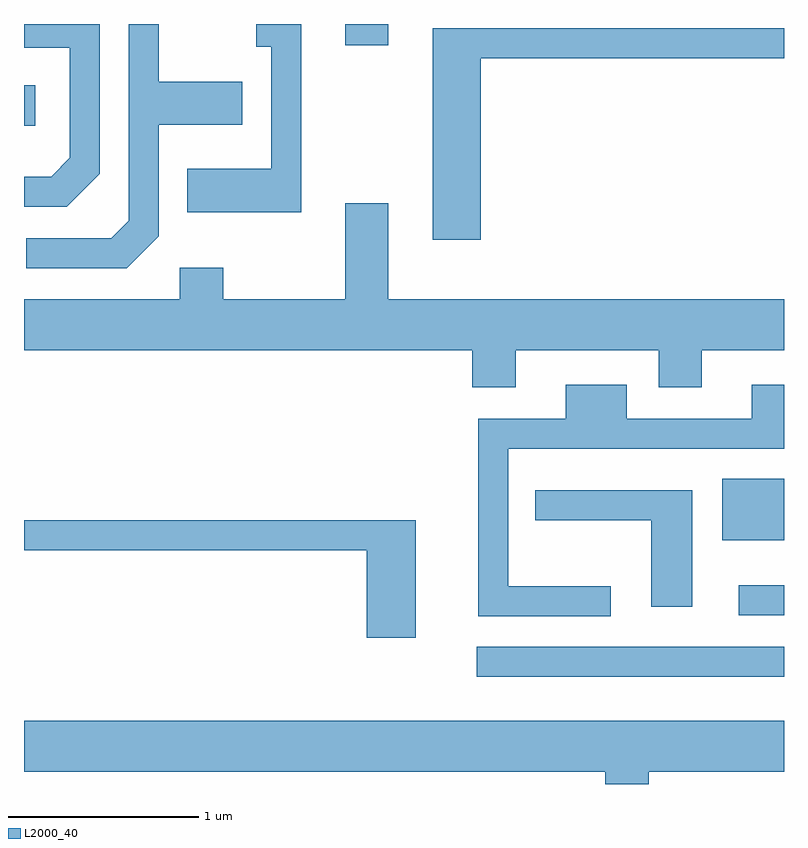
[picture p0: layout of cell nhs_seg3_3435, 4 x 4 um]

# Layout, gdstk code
import gdstk
lib = gdstk.Library(unit=1e-6, precision=1e-09)
def R(c, l, rs):  # rectangles x0, y0, x1, y1
    for r in rs: c.add(gdstk.rectangle(r[:2], r[2:], *l))
def P(c, l, *ps):  # polygons
    for p in ps: c.add(gdstk.Polygon(p, *l))
L2000_40 = (2000, 40)

nhs_seg3_3435 = lib.new_cell('nhs_seg3_3435')
R(nhs_seg3_3435, L2000_40, [(287.993,1186.456,289.611,1186.614), (289.373,1186.781,289.611,1186.939), (289.286,1187.176,289.611,1187.499), (285.611,1189.356,285.669,1189.569), (287.301,1189.781,287.529,1189.892)])
P(nhs_seg3_3435, L2000_40, [(287.069,1189.892),(286.833,1189.892),(286.833,1189.771),(286.911,1189.771),(286.911,1189.129),(286.471,1189.129),(286.471,1188.901),(287.069,1188.901)],
  [(286.319,1188.774),(286.319,1189.361),(286.759,1189.361),(286.759,1189.589),(286.319,1189.589),(286.319,1189.892),(286.161,1189.892),(286.161,1188.857),(286.069,1188.764),(285.623,1188.764),(285.623,1188.606),(286.152,1188.606)],
  [(286.009,1189.104),(286.009,1189.892),(285.611,1189.892),(285.611,1189.766),(285.851,1189.766),(285.851,1189.187),(285.754,1189.089),(285.611,1189.089),(285.611,1188.931),(285.837,1188.931)],
  [(288.014,1189.711),(289.611,1189.711),(289.611,1189.869),(287.761,1189.869),(287.761,1188.756),(288.014,1188.756)],
  [(288.199,1188.176),(288.951,1188.176),(288.951,1187.981),(289.179,1187.981),(289.179,1188.176),(289.611,1188.176),(289.611,1188.444),(287.529,1188.444),(287.529,1188.949),(287.301,1188.949),(287.301,1188.444),(286.659,1188.444),(286.659,1188.609),(286.431,1188.609),(286.431,1188.444),(285.611,1188.444),(285.611,1188.176),(287.971,1188.176),(287.971,1187.981),(288.199,1187.981)],
  [(288.698,1186.934),(288.159,1186.934),(288.159,1187.656),(289.611,1187.656),(289.611,1187.994),(289.441,1187.994),(289.441,1187.814),(288.784,1187.814),(288.784,1187.994),(288.461,1187.994),(288.461,1187.814),(288.001,1187.814),(288.001,1186.776),(288.698,1186.776)],
  [(289.129,1187.439),(288.303,1187.439),(288.303,1187.281),(288.911,1187.281),(288.911,1186.826),(289.129,1186.826)],
  [(287.674,1187.279),(285.611,1187.279),(285.611,1187.121),(287.416,1187.121),(287.416,1186.661),(287.674,1186.661)],
  [(288.899,1185.956),(289.611,1185.956),(289.611,1186.224),(285.611,1186.224),(285.611,1185.956),(288.671,1185.956),(288.671,1185.892),(288.899,1185.892)])

lib.write_gds('nhs_seg3_3435.gds')
